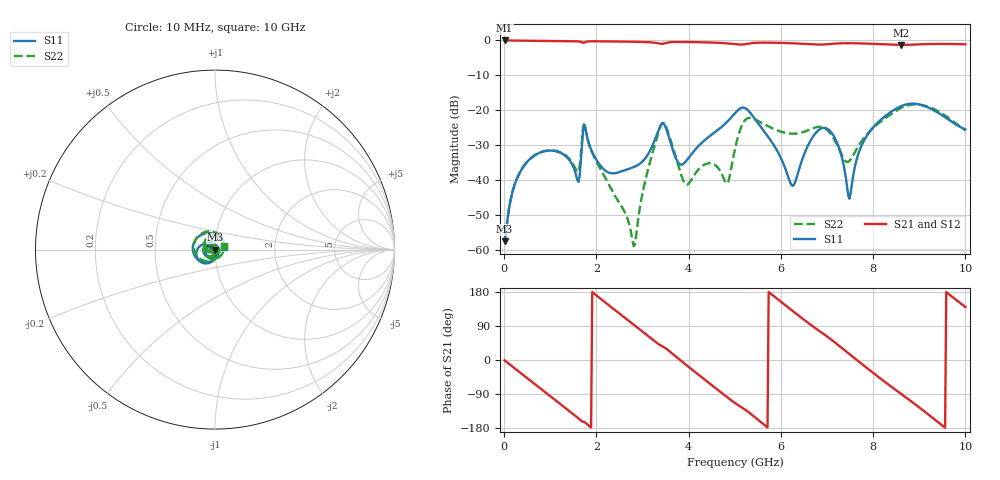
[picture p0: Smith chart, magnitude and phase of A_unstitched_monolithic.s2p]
! Channel segmentation validation - 38 mm 50 ohm symmetric stripline coupon
! Case: Coupon A (no stitching vias) - monolithic full-wave solve, no cut
! Solver: Ansys HFSS 3D Layout 2026 R1, broadband adaptive 1-5 GHz,
!  Delta S 0.02, interpolating sweep 10 MHz - 10 GHz
# GHz S MA R 50.000000
! Terminal data exported
! Port[1] = U1.PAD1.SIG
! Port[2] = U2.PAD1.SIG
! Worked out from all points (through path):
!   401 points, 10 MHz to 10 GHz, reference 50 ohm
!   highest |S21| = -0.01 dB at 10 MHz (marker M1); lowest = -1.3 dB at 8.61 GHz (marker M2)
!   group delay of S21, straight-line fit = 261 ps
!   lowest |S11| = -57.5 dB at 10 MHz (marker M3), VSWR 1.00, Z = 50.1 - j0.0111 ohm
!   |S11| at or under -10 dB: start of sweep to end of sweep
!   |S22| runs from -58.9 to -18.3 dB; largest |S21 - S12| = 9.9e-14
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0.01  0.001334 -4.8  0.9986 -1.0  0.9986 -1.0  0.001334 -4.7
0.31  0.01176 -98.8  0.9923 -29.8  0.9923 -29.8  0.01171 -99.2
0.885  0.02603 -164.9  0.9838 -84.6  0.9838 -84.6  0.02611 -164.4
1.585  0.01017 150.7  0.9693 -151.6  0.9693 -151.6  0.01318 167.6
1.685  0.03089 -156.7  0.9426 -161.6  0.9426 -161.6  0.03502 -154.1
2.185  0.01381 17.2  0.9686 152.6  0.9686 152.6  0.01095 89.2
2.81  0.01538 -81.4  0.957 93.1  0.957 93.1  0.001133 37.5
3.36  0.05467 -127.9  0.9039 40.9  0.9039 40.9  0.052 -133.6
3.96  0.01929 -10.0  0.9491 -14.4  0.9491 -14.4  0.008578 142.7
4.835  0.06829 -103.8  0.9074 -98.2  0.9074 -98.2  0.008941 168.0
5.01  0.09166 -122.7  0.8826 -114.0  0.8826 -114.0  0.02888 -161.3
5.26  0.1037 -173.2  0.8916 -134.1  0.8916 -134.1  0.07567 132.9
5.66  0.04755 136.6  0.9296 -173.2  0.9296 -173.2  0.06204 45.3
6.235  0.008426 34.6  0.9109 131.3  0.9109 131.3  0.04613 -37.4
6.685  0.04095 -100.0  0.8775 89.5  0.8775 89.5  0.05494 -100.9
7.11  0.04647 174.4  0.8937 52.2  0.8937 52.2  0.04305 161.4
7.485  0.005406 32.8  0.9124 15.6  0.9124 15.6  0.0188 19.3
7.785  0.03502 -75.5  0.9042 -13.5  0.9042 -13.5  0.03889 -62.7
8.335  0.08961 -128.4  0.872 -65.2  0.872 -65.2  0.08307 -130.6
8.61  0.1148 -157.6  0.8618 -89.8  0.8618 -89.8  0.1085 -162.5
9.385  0.09408 103.5  0.8907 -161.9  0.8907 -161.9  0.09872 93.9
10  0.05326 14.2  0.8809 139.7  0.8809 139.7  0.05139 22.3
